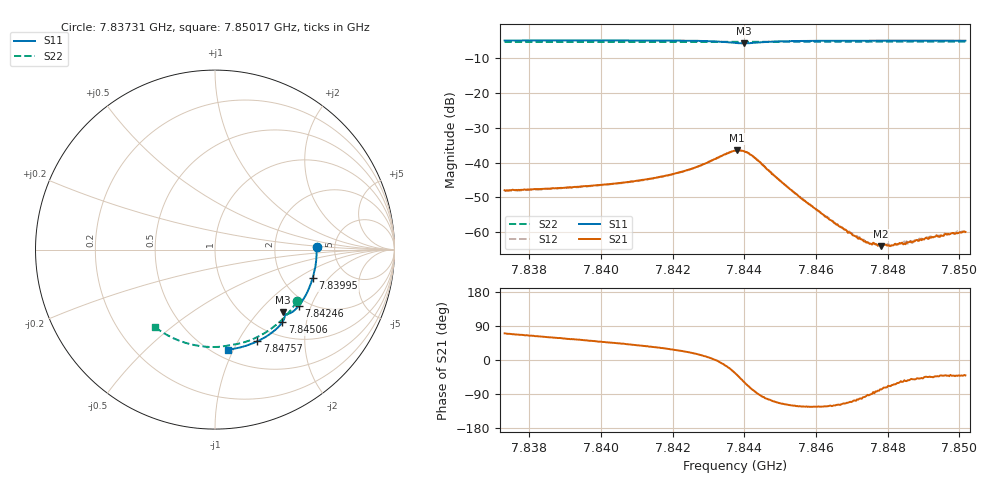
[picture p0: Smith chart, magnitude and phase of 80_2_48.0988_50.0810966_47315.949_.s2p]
#  HZ  S  RI  R  50.00
! Rohde & Schwarz Vector Network Analyzer
! Rohde-Schwarz,ZNB20-2Port,1311601062101988,3.16
! Created: UTC 12/23/2023, 3:42:40 AM
! freq[Hz]  re:S11  im:S11  re:S21  im:S21  re:S12  im:S12  re:S22  im:S22
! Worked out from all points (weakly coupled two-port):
!   401 points, 7.83731 GHz to 7.85017 GHz, reference 50 ohm
!   highest |S21| = -36.46 dB at 7.84381 GHz (marker M1); lowest = -64.0 dB at 7.84783 GHz (marker M2)
!   lowest |S11| = -5.8 dB at 7.844 GHz (marker M3), VSWR 3.13, Z = 72.5 - j68.8 ohm
!   |S11| at or under -10 dB: nowhere
!   |S22| runs from -5.4 to -5.3 dB; largest |S21 - S12| = 0.00027
!   S11 on the Smith chart (normalised r, x): 7.83731 GHz: 3.61, +0.15; 7.83995 GHz: 2.91, -1.37; 7.84246 GHz: 1.78, -1.64; 7.84506 GHz: 1.25, -1.46; 7.84757 GHz: 0.81, -1.21; 7.85017 GHz: 0.58, -0.95
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7.837314e9  0.5662 0.0143  0.00135 0.00378  0.00138 0.00368  0.4558 -0.289
7.839468e9  0.5524 -0.1282  0.00275 0.00365  0.00272 0.00358  0.359 -0.4042
7.83995e9  0.544 -0.1596  0.00319 0.00358  0.00309 0.00357  0.3329 -0.4262
7.840818e9  0.5241 -0.2151  0.00405 0.00349  0.00398 0.00345  0.2832 -0.461
7.841622e9  0.4997 -0.2651  0.00524 0.00336  0.00517 0.00335  0.2339 -0.4883
7.842457e9  0.4654 -0.3152  0.00747 0.00278  0.00741 0.00278  0.1793 -0.5108
7.843261e9  0.4168 -0.3551  0.0118 -0.000488  0.0117 -0.000693  0.1249 -0.5261
7.843743e9  0.3826 -0.3561  0.0122 -0.00836  0.0123 -0.00833  0.0926 -0.5312
7.843808e9  0.3805 -0.3539  0.0115 -0.00967  0.0114 -0.0096  0.0885 -0.5317
7.844001e9  0.3796 -0.3484  0.00765 -0.0124  0.00768 -0.0123  0.0763 -0.5338
7.844161e9  0.384 -0.3493  0.00383 -0.0125  0.00398 -0.0125  0.0661 -0.5355
7.844386e9  0.389 -0.3595  0.00013 -0.0107  0.000119 -0.0108  0.0512 -0.5384
7.845061e9  0.3746 -0.4054  -0.00221 -0.00468  -0.00219 -0.00466  0.004 -0.5428
7.845897e9  0.3333 -0.4497  -0.00131 -0.00197  -0.00131 -0.00198  -0.055 -0.5408
7.84683e9  0.2804 -0.487  -0.000456 -0.000995  -0.00043 -0.000988  -0.1199 -0.531
7.847344e9  0.25 -0.5041  -9.95e-05 -0.000733  -8.84e-05 -0.000765  -0.1549 -0.5223
7.847569e9  0.2363 -0.5108  5.32e-06 -0.000666  -1.8e-05 -0.000678  -0.17 -0.5175
7.847826e9  0.2205 -0.518  0.000135 -0.000619  0.000126 -0.000653  -0.1871 -0.5117
7.848051e9  0.2065 -0.5238  0.000232 -0.000596  0.000232 -0.000608  -0.2021 -0.5063
7.84863e9  0.17 -0.5367  0.000455 -0.000581  0.000463 -0.000593  -0.2392 -0.4902
7.849112e9  0.139 -0.5454  0.000577 -0.000575  0.000596 -0.000601  -0.2691 -0.4745
7.850173e9  0.0698 -0.5581  0.000771 -0.000659  0.000781 -0.000673  -0.3316 -0.434
